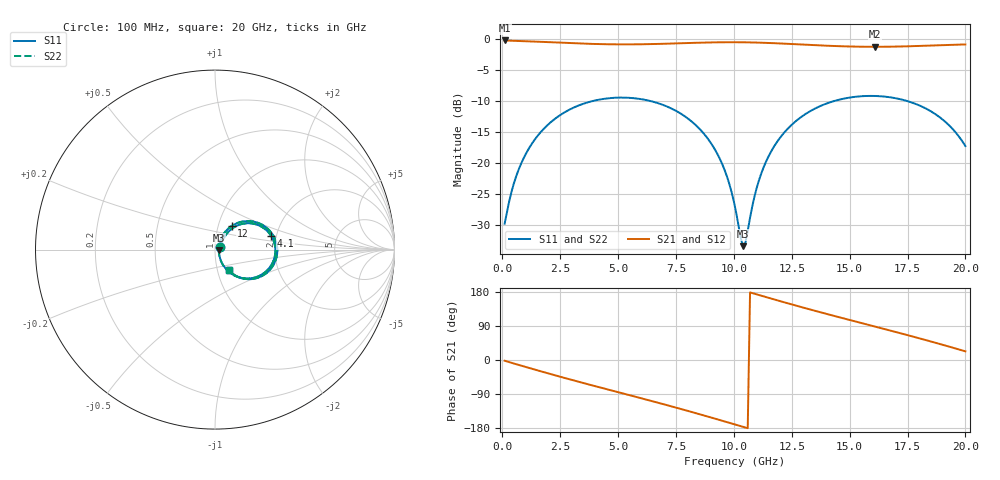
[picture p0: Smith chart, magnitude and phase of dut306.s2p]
! Touchstone file exported from HFSS 2026.1.0
!  File:  C:/ffzhzh/LocalFiles/Ansys_Project_Files/temp_train_TSV_RDL_306_1783028721_4048.aedt
!  Generated:  05:59:26 AM Jul  3, 2026
!  Design:  TSV_RDL
!  Project:  temp_train_TSV_RDL_306_1783028721_4048
! Variables:
!  h_bsmrdl = 2.72um
!  h_ox = 20um
!  h_rdl = 5um
!  h_sub = 83.08um
!  h_tmrdl = 4.38um
!  h_tsv = 83.08um
!  h_via = 3um
!  l_bsmrdl = 991.14um
!  l_sub = 5399.54um
!  l_tmrdl = 478.39um
!  m_sub = 200um
!  pitch = 33.64um
!  r_tsv = 12.6um
!  s_tmrdl = 10um
!  w_bsmrdl = 17.99um
!  w_sub = 500um
!  w_tmrdl = 19.53um
!  x_tsv_center1 = 488.155um
!  x_tsv_center2 = 1497.285um
!  x_tsv_center3 = 1995.205um
!  x_tsv_center4 = 3004.335um
!  x_tsv_center5 = 3502.255um
!  x_tsv_center6 = 4511.385um
# GHz S MA R 50.000000
! Terminal data exported
! Port[1] = TM_RDL1_1_T1
! Port[2] = TM_RDL5_1_T1
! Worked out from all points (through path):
!   200 points, 100 MHz to 20 GHz, reference 50 ohm
!   highest |S21| = -0.26 dB at 100 MHz (marker M1); lowest = -1.3 dB at 16.1 GHz (marker M2)
!   group delay of S21, straight-line fit = 46.7 ps
!   lowest |S11| = -33.4 dB at 10.4 GHz (marker M3), VSWR 1.04, Z = 52.2 - j0.242 ohm
!   |S11| at or under -10 dB: start of sweep to 3.913 GHz; 6.387 GHz to 14.34 GHz (7.954 GHz wide, 76.7 % of centre); 17.48 GHz to end of sweep
!   |S22| runs from -33.7 to -9.2 dB; largest |S21 - S12| = 1.9e-14
!   S11 on the Smith chart (normalised r, x): 100 MHz: 1.06, +0.03; 4.1 GHz: 1.87, +0.32; 12 GHz: 1.16, +0.31; 20 GHz: 1.13, -0.26
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0.1  0.03256 22.0  0.9702 -1.9  0.9702 -1.9  0.03256 22.0
! Gamma 0 0 0 0
! Port Impedance 50 0 50 0
0.6  0.07838 52.2  0.9624 -11.1  0.9624 -11.1  0.07838 52.2
1.3  0.1453 51.5  0.952 -23.5  0.952 -23.5  0.1453 51.5
2.3  0.2292 39.8  0.9348 -40.8  0.9348 -40.8  0.2292 39.8
3.5  0.3003 22.7  0.915 -60.8  0.915 -60.8  0.3003 22.6
4.1  0.3219 13.8  0.9077 -70.5  0.9077 -70.5  0.3219 13.8
5.5  0.335 -6.9  0.902 -92.9  0.902 -92.9  0.335 -7.0
6.8  0.3004 -26.4  0.9105 -114.0  0.9105 -114.0  0.3004 -26.5
8  0.2296 -44.3  0.9248 -134.1  0.9248 -134.1  0.2296 -44.5
9  0.1459 -57.9  0.9354 -151.5  0.9354 -151.5  0.1458 -58.2
9.6  0.08816 -62.6  0.9386 -162.1  0.9386 -162.1  0.08802 -63.1
10.1  0.03998 -52.9  0.9388 -171.0  0.9388 -171.0  0.03956 -54.0
10.4  0.02147 -6.2  0.9377 -176.4  0.9377 -176.4  0.02057 -6.6
10.5  0.02294 19.3  0.9372 -178.2  0.9372 -178.2  0.02207 20.1
11.1  0.0742 60.9  0.9317 171.1  0.9317 171.1  0.07388 61.6
12  0.1604 54.8  0.9179 155.3  0.9179 155.3  0.1602 55.2
13.4  0.2684 35.3  0.8909 131.5  0.8909 131.5  0.2683 35.5
14.7  0.3288 16.2  0.8706 110.4  0.8706 110.4  0.3287 16.3
16.1  0.3469 -4.2  0.8625 88.2  0.8625 88.2  0.3468 -4.1
16.7  0.3395 -12.9  0.8641 78.6  0.8641 78.6  0.3394 -12.8
18.6  0.2551 -40.3  0.8842 47.3  0.8842 47.3  0.2549 -40.2
20  0.1371 -56.3  0.9008 22.8  0.9008 22.8  0.1369 -56.4
